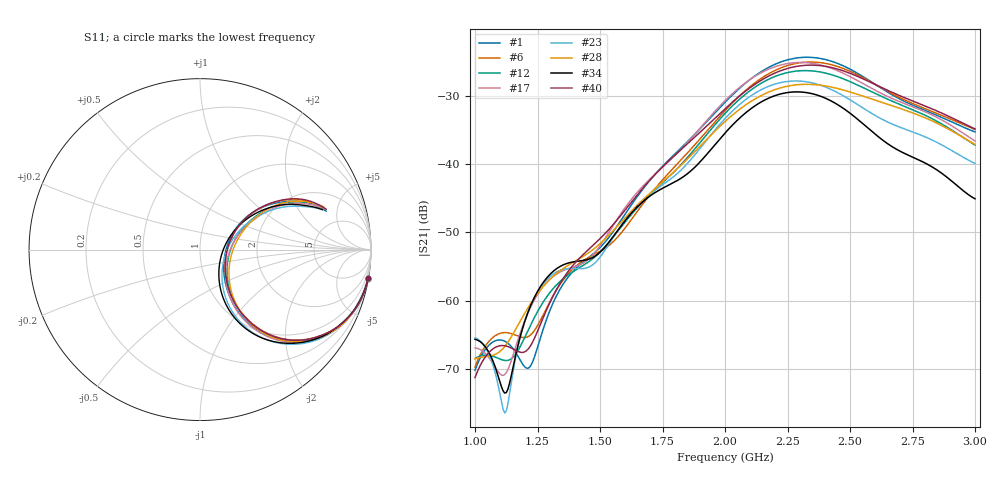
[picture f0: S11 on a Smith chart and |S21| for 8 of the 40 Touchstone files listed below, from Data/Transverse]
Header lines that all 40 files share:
! TOUCHSTONE file generated by CST MICROWAVE STUDIO
! Project name: transverse.cst
! Header version: 2024
! Port assignment regex: !\s*Touchstone port\s*([0-9]+)\s*=\s*(CST MWS port|CST DES external port|CST DES block port)\s*(.+)\s* \(\"(.*)\"\)(\s*mode\s*([0-9]+))?.*
! Touchstone port assignment:
! Touchstone port 1 = CST MWS port 1 ("")
! Touchstone port 2 = CST MWS port 2 ("")
# GHz S MA R 50
Fixed: D = 160, Feed = 2.85625, L = 100, R = 0.384908, Theta = 0, length = 57.125, wave = 114.25
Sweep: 1 GHz to 3 GHz
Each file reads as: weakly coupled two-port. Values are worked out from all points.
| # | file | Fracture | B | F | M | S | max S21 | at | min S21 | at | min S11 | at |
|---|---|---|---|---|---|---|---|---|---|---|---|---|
| 1 | transverse_1.s2p | 1 | 10 | 5 | 10 | 1 | -24.33 dB | 2.327 GHz | -70.2 dB | 1 GHz | -16.6 dB | 2.366 GHz |
| 2 | transverse_2.s2p | 5 | 10 | 5 | 10 | 1 | -24.41 dB | 2.329 GHz | -70.2 dB | 1.211 GHz | -16.6 dB | 2.368 GHz |
| 3 | transverse_3.s2p | 1 | 10 | 5 | 10 | 2 | -25.27 dB | 2.34 GHz | -71.2 dB | 1 GHz | -16.2 dB | 2.38 GHz |
| 4 | transverse_4.s2p | 5 | 10 | 5 | 10 | 2 | -25.28 dB | 2.342 GHz | -71.3 dB | 1 GHz | -16.2 dB | 2.382 GHz |
| 5 | transverse_5.s2p | 1 | 10 | 5 | 20 | 1 | -24.99 dB | 2.34 GHz | -69.8 dB | 1 GHz | -16.1 dB | 2.373 GHz |
| 6 | transverse_6.s2p | 5 | 10 | 5 | 20 | 1 | -25.03 dB | 2.342 GHz | -69.7 dB | 1 GHz | -16.1 dB | 2.375 GHz |
| 7 | transverse_7.s2p | 1 | 10 | 5 | 20 | 2 | -25.46 dB | 2.329 GHz | -69.3 dB | 1 GHz | -15.6 dB | 2.375 GHz |
| 8 | transverse_8.s2p | 5 | 10 | 5 | 20 | 2 | -25.48 dB | 2.333 GHz | -69.3 dB | 1 GHz | -15.6 dB | 2.373 GHz |
| 9 | transverse_9.s2p | 1 | 10 | 5 | 30 | 1 | -26.13 dB | 2.34 GHz | -68.9 dB | 1 GHz | -15.4 dB | 2.373 GHz |
| 10 | transverse_10.s2p | 5 | 10 | 5 | 30 | 1 | -26.15 dB | 2.34 GHz | -68.9 dB | 1 GHz | -15.4 dB | 2.373 GHz |
| 11 | transverse_11.s2p | 1 | 10 | 5 | 30 | 2 | -26.29 dB | 2.32 GHz | -69.7 dB | 1.125 GHz | -15.3 dB | 2.366 GHz |
| 12 | transverse_12.s2p | 5 | 10 | 5 | 30 | 2 | -26.29 dB | 2.322 GHz | -68.8 dB | 1.125 GHz | -15.3 dB | 2.368 GHz |
| 13 | transverse_13.s2p | 1 | 10 | 15 | 10 | 1 | -24.55 dB | 2.32 GHz | -69.6 dB | 1 GHz | -15.4 dB | 2.366 GHz |
| 14 | transverse_14.s2p | 5 | 10 | 15 | 10 | 1 | -24.53 dB | 2.322 GHz | -69.6 dB | 1 GHz | -15.4 dB | 2.368 GHz |
| 15 | transverse_15.s2p | 1 | 10 | 15 | 10 | 2 | -26.86 dB | 2.356 GHz | -69.4 dB | 1.22 GHz | -15.1 dB | 2.371 GHz |
| 16 | transverse_16.s2p | 5 | 10 | 15 | 10 | 2 | -26.68 dB | 2.34 GHz | -70.2 dB | 1 GHz | -15.1 dB | 2.373 GHz |
| 17 | transverse_17.s2p | 1 | 10 | 15 | 20 | 1 | -25.09 dB | 2.3 GHz | -70.9 dB | 1.112 GHz | -15.5 dB | 2.36 GHz |
| 18 | transverse_18.s2p | 5 | 10 | 15 | 20 | 1 | -25.09 dB | 2.303 GHz | -68.6 dB | 1.112 GHz | -15.5 dB | 2.362 GHz |
| 19 | transverse_19.s2p | 1 | 10 | 15 | 20 | 2 | -27.26 dB | 2.3 GHz | -69.1 dB | 1.099 GHz | -14.8 dB | 2.36 GHz |
| 20 | transverse_20.s2p | 5 | 10 | 15 | 20 | 2 | -27.25 dB | 2.3 GHz | -69.1 dB | 1.099 GHz | -14.8 dB | 2.36 GHz |
| 21 | transverse_21.s2p | 1 | 10 | 15 | 30 | 1 | -25.95 dB | 2.294 GHz | -80.1 dB | 1.125 GHz | -16.8 dB | 2.347 GHz |
| 22 | transverse_22.s2p | 5 | 10 | 15 | 30 | 1 | -25.97 dB | 2.294 GHz | -78.4 dB | 1.125 GHz | -16.7 dB | 2.353 GHz |
| 23 | transverse_23.s2p | 1 | 10 | 15 | 30 | 2 | -27.81 dB | 2.281 GHz | -76.4 dB | 1.119 GHz | -16.5 dB | 2.34 GHz |
| 24 | transverse_24.s2p | 5 | 10 | 15 | 30 | 2 | -27.80 dB | 2.281 GHz | -76.1 dB | 1.119 GHz | -16.5 dB | 2.34 GHz |
| 25 | transverse_25.s2p | 1 | 10 | 25 | 10 | 1 | -27.09 dB | 2.294 GHz | -69.2 dB | 1.073 GHz | -14.9 dB | 2.36 GHz |
| 26 | transverse_26.s2p | 5 | 10 | 25 | 10 | 1 | -27.06 dB | 2.296 GHz | -68.9 dB | 1 GHz | -14.9 dB | 2.362 GHz |
| 27 | transverse_27.s2p | 1 | 10 | 25 | 10 | 2 | -28.33 dB | 2.327 GHz | -68.6 dB | 1 GHz | -14.6 dB | 2.366 GHz |
| 28 | transverse_28.s2p | 5 | 10 | 25 | 10 | 2 | -28.29 dB | 2.327 GHz | -68.5 dB | 1 GHz | -14.6 dB | 2.366 GHz |
| 29 | transverse_29.s2p | 1 | 10 | 25 | 20 | 1 | -27.90 dB | 2.274 GHz | -71.4 dB | 1.106 GHz | -15.8 dB | 2.347 GHz |
| 30 | transverse_30.s2p | 5 | 10 | 25 | 20 | 1 | -27.90 dB | 2.276 GHz | -71.2 dB | 1.105 GHz | -15.8 dB | 2.349 GHz |
| 31 | transverse_31.s2p | 1 | 10 | 25 | 20 | 2 | -28.84 dB | 2.287 GHz | -69.5 dB | 1.112 GHz | -15.9 dB | 2.34 GHz |
| 32 | transverse_32.s2p | 5 | 10 | 25 | 20 | 2 | -28.83 dB | 2.287 GHz | -69.5 dB | 1.112 GHz | -15.9 dB | 2.34 GHz |
| 33 | transverse_33.s2p | 1 | 10 | 25 | 30 | 1 | -29.39 dB | 2.287 GHz | -75.4 dB | 1.125 GHz | -17.8 dB | 2.353 GHz |
| 34 | transverse_34.s2p | 5 | 10 | 25 | 30 | 1 | -29.40 dB | 2.289 GHz | -73.5 dB | 1.118 GHz | -17.7 dB | 2.349 GHz |
| 35 | transverse_35.s2p | 1 | 10 | 25 | 30 | 2 | -29.93 dB | 2.294 GHz | -71.6 dB | 1.132 GHz | -18.2 dB | 2.347 GHz |
| 36 | transverse_36.s2p | 5 | 10 | 25 | 30 | 2 | -29.93 dB | 2.294 GHz | -71.5 dB | 1.125 GHz | -18.2 dB | 2.347 GHz |
| 37 | transverse_37.s2p | 1 | 12.5 | 5 | 10 | 1 | -24.81 dB | 2.336 GHz | -70.9 dB | 1 GHz | -16.4 dB | 2.375 GHz |
| 38 | transverse_38.s2p | 5 | 12.5 | 5 | 10 | 1 | -24.88 dB | 2.342 GHz | -71.2 dB | 1 GHz | -16.4 dB | 2.382 GHz |
| 39 | transverse_39.s2p | 1 | 12.5 | 5 | 10 | 2 | -25.53 dB | 2.342 GHz | -71.3 dB | 1 GHz | -16.1 dB | 2.375 GHz |
| 40 | transverse_40.s2p | 5 | 12.5 | 5 | 10 | 2 | -25.48 dB | 2.347 GHz | -71.3 dB | 1 GHz | -16.1 dB | 2.373 GHz |
